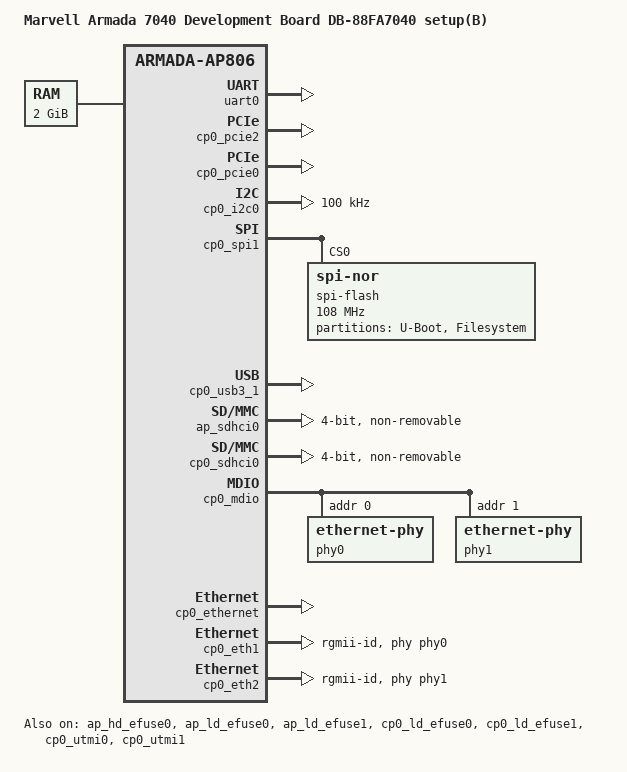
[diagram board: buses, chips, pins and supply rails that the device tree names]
// SPDX-License-Identifier: GPL-2.0+
/*
 * Copyright (C) 2018 Marvell International Ltd.
 */

/*
 * Device Tree file for Marvell Armada 7040 Development board platform
 * Boot device: SPI NOR, 0x32 (SW3)
 */

#include "armada-70x0-db.dtsi"

/ {
	model = "Marvell Armada 7040 Development Board DB-88FA7040 setup(B)";
	compatible = "marvell,armada7040-db", "marvell,armada7040",
		     "marvell,armada-ap806-quad", "marvell,armada-ap806";

	chosen {
		stdout-path = "serial0:115200n8";
	};

	aliases {
		i2c0 = &cp0_i2c0;
		spi0 = &cp0_spi1;
		fuse0 = &ap_hd_efuse0;
		fuse1 = &ap_ld_efuse0;
		fuse2 = &ap_ld_efuse1;
		fuse3 = &cp0_ld_efuse0;
		fuse4 = &cp0_ld_efuse1;
	};

	memory@00000000 {
		device_type = "memory";
		reg = <0x0 0x0 0x0 0x80000000>;
	};
};

&ap_pinctl {
	   /* MPP Bus:
	    * SDIO  [0-5]
	    * UART0 [11,19]
	    */
		  /* 0 1 2 3 4 5 6 7 8 9 */
	pin-func = < 1 1 1 1 1 1 0 0 0 0
		     0 3 0 0 0 0 0 0 0 3 >;
};

&uart0 {
	status = "okay";
};

&ap_hd_efuse0 {
	status = "okay";
};

&ap_ld_efuse0 {
	status = "okay";
};

&ap_ld_efuse1 {
	status = "okay";
};

&cp0_pcie2 {
	status = "okay";
};

&cp0_pcie0 {
	status = "okay";
};

&cp0_i2c0 {
	pinctrl-names = "default";
	pinctrl-0 = <&cp0_i2c0_pins>;
	status = "okay";
	clock-frequency = <100000>;
};

&cp0_pinctl {
		/* MPP Bus:
		 * RGMII1 [0-11]
		 * SPI    [13-16]
		 * SATA1  [28]
		 * UART0  [29-30]
		 * SMI	  [32,34]
		 * XSMI   [35-36]
		 * I2C	  [37-38]
		 * RGMII2 [44-55]
		 * SD	  [56-61]
		 * GPIO   [62]
		 */
		/*   0   1   2   3   4   5   6   7   8   9 */
	pin-func = < 3   3   3   3   3   3   3   3   3   3
		     3   3   0   3   3   3   3   0   0   0
		     0   0   0   0   0   0   0   0   9   0xA
		     0xA 0   7   0   7   7   7   2   2   0
		     0   0   0   0   1   1   1   1   1   1
		     1   1   1   1   1   1   0xE 0xE 0xE 0xE
		     0xE 0xE 0>;
};

&cp0_spi1 {
	pinctrl-names = "default";
	pinctrl-0 = <&cp0_spi0_pins>;
	reg = <0x700680 0x50>,		/* control */
	      <0x2000000 0x1000000>,	/* CS0 */
	      <0 0xffffffff>,		/* CS1 */
	      <0 0xffffffff>,		/* CS2 */
	      <0 0xffffffff>;		/* CS3 */
	status = "okay";

	spi-flash@0 {
		#address-cells = <0x1>;
		#size-cells = <0x1>;
		compatible = "jedec,spi-nor", "spi-flash";
		reg = <0x0>;
		spi-max-frequency = <108000000>;

		partitions {
			compatible = "fixed-partitions";
			#address-cells = <1>;
			#size-cells = <1>;

			partition@0 {
				label = "U-Boot";
				reg = <0x0 0x200000>;
			};

			partition@400000 {
				label = "Filesystem";
				reg = <0x200000 0xe00000>;
			};
		};
	};
};

&cp0_ld_efuse0 {
	status = "okay";
};

&cp0_ld_efuse1 {
	status = "okay";
};

&cp0_usb3_1 {
	status = "okay";
};

&cp0_comphy {
	phy0 {
		phy-type = <COMPHY_TYPE_PEX0>;
	};

	phy1 {
		phy-type = <COMPHY_TYPE_PEX0>;
	};

	phy2 {
		phy-type = <COMPHY_TYPE_PEX0>;
	};

	phy3 {
		phy-type = <COMPHY_TYPE_PEX0>;
	};

	phy4 {
		phy-type = <COMPHY_TYPE_USB3_HOST1>;
	};

	phy5 {
		phy-type = <COMPHY_TYPE_PEX2>;
	};
};

&cp0_utmi0 {
	status = "okay";
};

&cp0_utmi1 {
	status = "okay";
};

&ap_sdhci0 {
	status = "okay";
	bus-width = <4>;
	no-1-8-v;
	non-removable;
};

&cp0_sdhci0 {
	status = "okay";
	bus-width = <4>;
	no-1-8-v;
	non-removable;
};

&cp0_mdio {
	status = "okay";
	phy0: ethernet-phy@0 {
		reg = <0>;
	};
	phy1: ethernet-phy@1 {
		reg = <1>;
	};
};

&cp0_ethernet {
	status = "okay";
};

&cp0_eth1 {
	status = "okay";
	phy = <&phy0>;
	phy-mode = "rgmii-id";
};

&cp0_eth2 {
	status = "okay";
	phy = <&phy1>;
	phy-mode = "rgmii-id";
};
